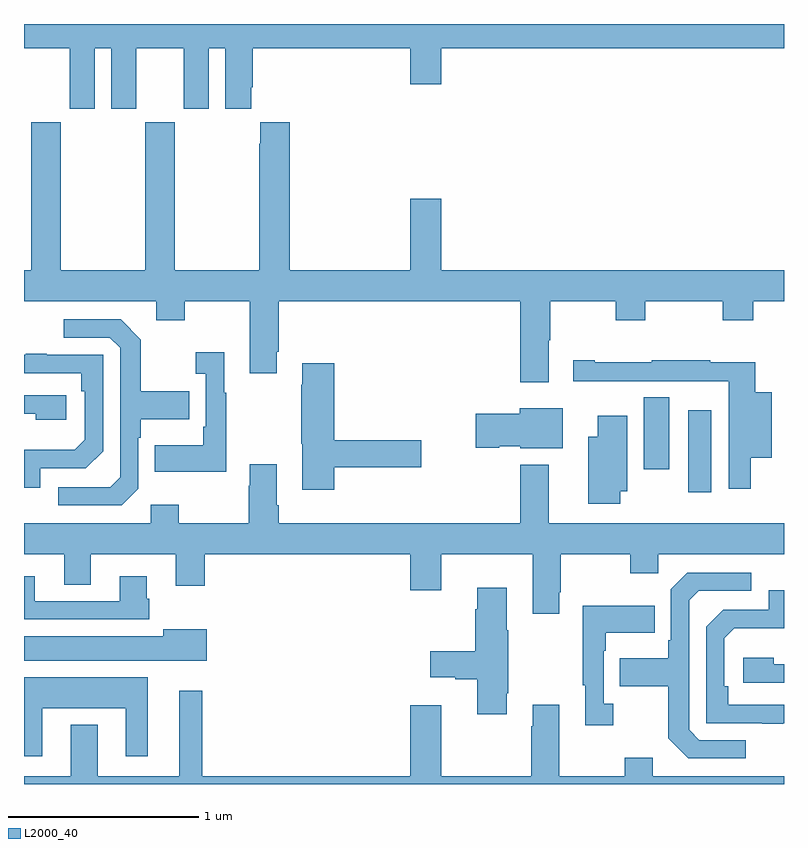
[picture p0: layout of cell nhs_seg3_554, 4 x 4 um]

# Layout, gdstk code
import gdstk
lib = gdstk.Library(unit=1e-6, precision=1e-09)
def R(c, l, rs):  # rectangles x0, y0, x1, y1
    for r in rs: c.add(gdstk.rectangle(r[:2], r[2:], *l))
def P(c, l, *ps):  # polygons
    for p in ps: c.add(gdstk.Polygon(p, *l))
L2000_40 = (2000, 40)

nhs_seg3_554 = lib.new_cell('nhs_seg3_554')
R(nhs_seg3_554, L2000_40, [(142.496,675.936,142.618,676.366), (142.262,676.056,142.396,676.436)])
P(nhs_seg3_554, L2000_40, [(139.372,678.272),(139.46,678.272),(139.46,677.955),(139.591,677.955),(139.591,678.272),(139.841,678.272),(139.841,677.955),(139.972,677.955),(139.972,678.272),(140.06,678.272),(140.06,677.955),(140.197,677.955),(140.197,678.067),(140.204,678.067),(140.204,678.272),(141.032,678.272),(141.032,678.084),(141.196,678.084),(141.196,678.272),(143,678.272),(143,678.4),(139,678.4),(139,678.272),(139.241,678.272),(139.241,677.955),(139.372,677.955)],
  [(141.763,676.736),(141.771,676.736),(141.771,676.94),(142.114,676.94),(142.114,676.841),(142.269,676.841),(142.269,676.94),(142.678,676.94),(142.678,676.841),(142.838,676.841),(142.838,676.94),(143,676.94),(143,677.104),(141.196,677.104),(141.196,677.479),(141.032,677.479),(141.032,677.104),(140.399,677.104),(140.399,677.884),(140.243,677.884),(140.243,677.771),(140.239,677.771),(140.239,677.104),(139.794,677.104),(139.794,677.884),(139.639,677.884),(139.639,677.104),(139.194,677.104),(139.194,677.884),(139.039,677.884),(139.039,677.104),(139,677.104),(139,676.94),(139.697,676.94),(139.697,676.841),(139.845,676.841),(139.845,676.94),(140.189,676.94),(140.189,676.563),(140.329,676.563),(140.329,676.675),(140.342,676.675),(140.342,676.94),(141.611,676.94),(141.611,676.515),(141.763,676.515)],
  [(139.602,675.954),(139.602,676.223),(139.615,676.223),(139.615,676.319),(139.871,676.319),(139.871,676.467),(139.615,676.467),(139.615,676.739),(139.509,676.845),(139.209,676.845),(139.209,676.749),(139.452,676.749),(139.506,676.695),(139.506,676.014),(139.455,675.963),(139.179,675.963),(139.179,675.867),(139.515,675.867)],
  [(140.065,676.459),(140.053,676.459),(140.053,676.672),(139.905,676.672),(139.905,676.559),(139.956,676.559),(139.956,676.279),(139.944,676.279),(139.944,676.183),(139.687,676.183),(139.687,676.043),(140.065,676.043)],
  [(139.086,676.062),(139.326,676.062),(139.416,676.152),(139.416,676.659),(139.121,676.659),(139.121,676.664),(139.009,676.664),(139.009,676.659),(139,676.659),(139,676.563),(139.3,676.563),(139.3,676.466),(139.32,676.466),(139.32,676.212),(139.267,676.159),(139,676.159),(139,675.96),(139.086,675.96)],
  [(142.826,676.118),(142.936,676.118),(142.936,676.462),(142.848,676.462),(142.848,676.62),(142.613,676.62),(142.613,676.63),(142.303,676.63),(142.303,676.62),(142.003,676.62),(142.003,676.63),(141.891,676.63),(141.891,676.52),(142.166,676.52),(142.166,676.521),(142.5,676.521),(142.5,676.52),(142.709,676.52),(142.709,676.222),(142.71,676.222),(142.71,675.954),(142.826,675.954)],
  [(140.633,676.066),(141.091,676.066),(141.091,676.208),(140.633,676.208),(140.633,676.615),(140.465,676.615),(140.465,676.502),(140.458,676.502),(140.458,676.191),(140.465,676.191),(140.465,675.948),(140.633,675.948)],
  [(139.222,676.446),(139,676.446),(139,676.35),(139.061,676.35),(139.061,676.316),(139.222,676.316)],
  [(141.835,676.378),(141.608,676.378),(141.608,676.349),(141.378,676.349),(141.378,676.171),(141.501,676.171),(141.501,676.178),(141.612,676.178),(141.612,676.166),(141.835,676.166)],
  [(142.137,675.941),(142.174,675.941),(142.174,676.339),(142.019,676.339),(142.019,676.228),(141.971,676.228),(141.971,675.876),(142.137,675.876)],
  [(139.668,675.871),(139.668,675.772),(139,675.772),(139,675.608),(139.211,675.608),(139.211,675.448),(139.351,675.448),(139.351,675.608),(139.799,675.608),(139.799,675.444),(139.952,675.444),(139.952,675.608),(141.032,675.608),(141.032,675.42),(141.196,675.42),(141.196,675.608),(141.677,675.608),(141.677,675.297),(141.817,675.297),(141.817,675.409),(141.825,675.409),(141.825,675.608),(142.192,675.608),(142.192,675.509),(142.338,675.509),(142.338,675.608),(143,675.608),(143,675.772),(141.763,675.772),(141.763,676.081),(141.611,676.081),(141.611,675.772),(140.342,675.772),(140.342,675.868),(140.329,675.868),(140.329,676.084),(140.189,676.084),(140.189,675.971),(140.182,675.971),(140.182,675.772),(139.815,675.772),(139.815,675.871)],
  [(142.798,674.631),(142.554,674.631),(142.5,674.685),(142.5,675.366),(142.551,675.417),(142.828,675.417),(142.828,675.513),(142.491,675.513),(142.404,675.426),(142.404,675.157),(142.392,675.157),(142.392,675.061),(142.135,675.061),(142.135,674.914),(142.392,674.914),(142.392,674.641),(142.497,674.535),(142.798,674.535)],
  [(139.658,675.375),(139.645,675.375),(139.645,675.493),(139.505,675.493),(139.505,675.363),(139.057,675.363),(139.057,675.493),(139,675.493),(139,675.267),(139.658,675.267)],
  [(141.541,674.878),(141.549,674.878),(141.549,675.209),(141.541,675.209),(141.541,675.433),(141.386,675.433),(141.386,675.32),(141.374,675.32),(141.374,675.098),(141.138,675.098),(141.138,674.963),(141.27,674.963),(141.27,674.951),(141.386,674.951),(141.386,674.766),(141.541,674.766)],
  [(142.997,674.721),(143,674.721),(143,674.817),(142.706,674.817),(142.706,674.914),(142.686,674.914),(142.686,675.168),(142.739,675.221),(143,675.221),(143,675.42),(142.92,675.42),(142.92,675.318),(142.68,675.318),(142.59,675.228),(142.59,674.721),(142.885,674.721),(142.885,674.716),(142.997,674.716)],
  [(142.102,674.822),(142.05,674.822),(142.05,675.101),(142.063,675.101),(142.063,675.197),(142.319,675.197),(142.319,675.337),(141.942,675.337),(141.942,674.921),(141.953,674.921),(141.953,674.709),(142.102,674.709)],
  [(139.963,675.214),(139.733,675.214),(139.733,675.178),(139,675.178),(139,675.05),(139.963,675.05)],
  [(143,675.03),(142.946,675.03),(142.946,675.064),(142.785,675.064),(142.785,674.934),(143,674.934)],
  [(139.096,674.798),(139.535,674.798),(139.535,674.547),(139.651,674.547),(139.651,674.962),(139,674.962),(139,674.547),(139.096,674.547)],
  [(142.309,674.539),(142.162,674.539),(142.162,674.44),(141.817,674.44),(141.817,674.818),(141.677,674.818),(141.677,674.705),(141.67,674.705),(141.67,674.44),(141.196,674.44),(141.196,674.815),(141.032,674.815),(141.032,674.44),(139.939,674.44),(139.939,674.89),(139.817,674.89),(139.817,674.44),(139.387,674.44),(139.387,674.713),(139.247,674.713),(139.247,674.44),(139,674.44),(139,674.4),(143,674.4),(143,674.44),(142.309,674.44)])

lib.write_gds('nhs_seg3_554.gds')
